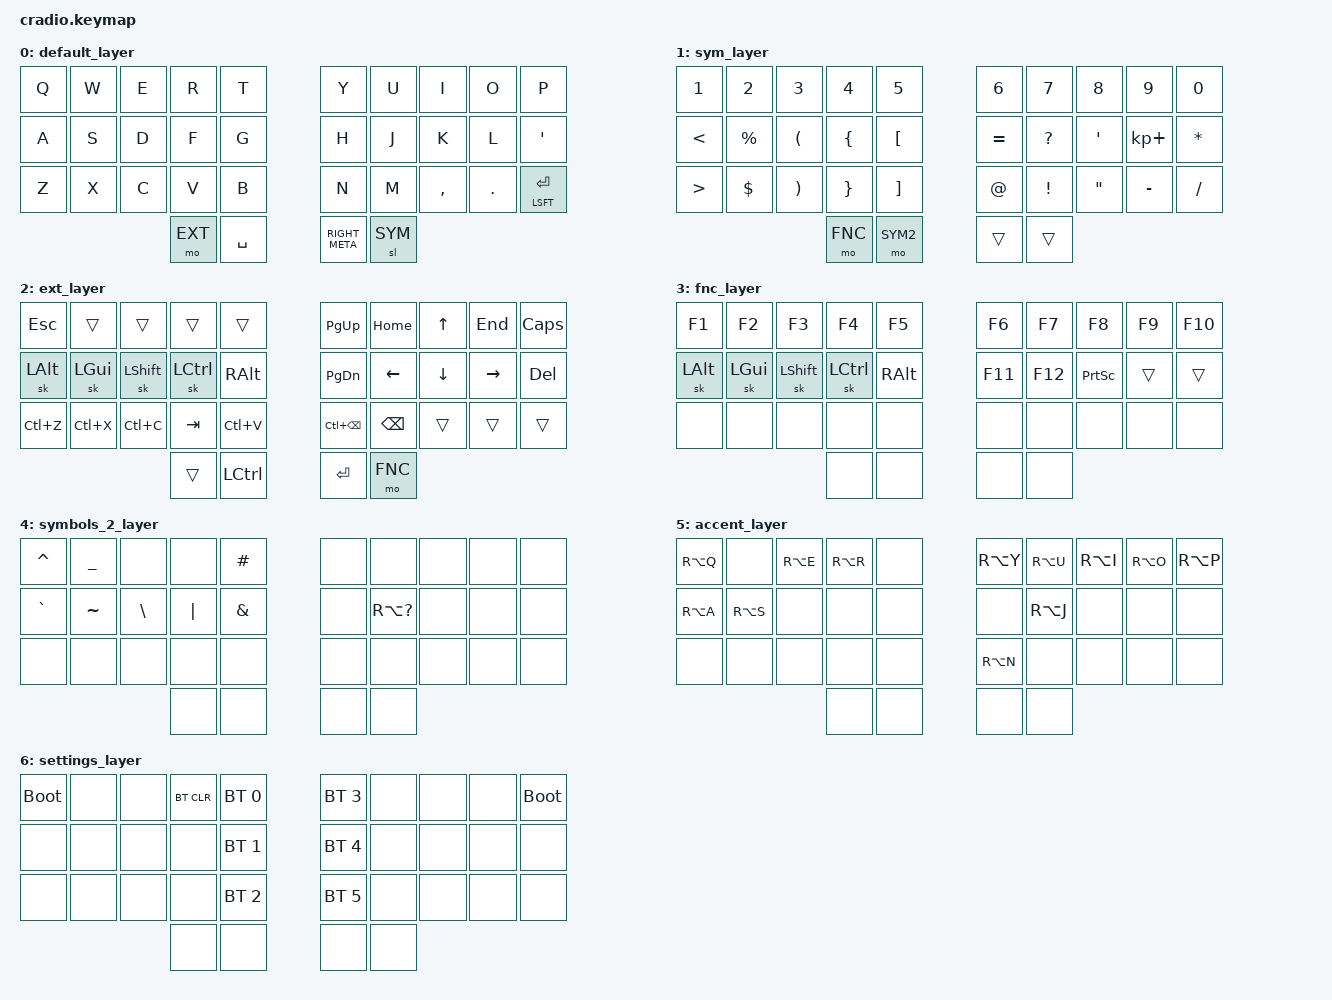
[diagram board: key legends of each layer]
/*
 * Copyright (c) 2020 The ZMK Contributors
 *
 * SPDX-License-Identifier: MIT
 */

#include <behaviors.dtsi>
#include <dt-bindings/zmk/keys.h>
#include <dt-bindings/zmk/bt.h>

// Layer definitions
    #define BASE 0
    #define SYM 1
    #define EXT 2
    #define FNC 3
    #define SYM2 4
    #define ACCENT 5
    #define SETTINGS 6
// -----------------

&mt {
   //  flavor = "tap-preferred";
   // tapping_term_ms = <200>;
};

/ {
    combos {
        compatible = "zmk,combos";
		// both right thumb keys
        combo_accent {
            timeout-ms = <300>;
            key-positions = <32 33>;
            bindings = <&mo ACCENT>;
        };
        // internal-left & external-right thumb keys
        combo_sym2 {
                timeout-ms = <200>;
                key-positions = <31 33>;
                bindings = <&mo SYM2>;
        };
        // both left thumb keys
        combo_settings {
                timeout-ms = <300>;
                key-positions = <30 31>;
                bindings = <&mo SETTINGS>;
        };
    };

    behaviors {
        dkm: dualkey_mod {
            compatible = "zmk,behavior-hold-tap";
            label = "DUAL_KEY_MOD";
            #binding-cells = <2>;
            tapping-term-ms = <200>;
            quick-tap-ms = <0>;
            flavor = "tap-preferred";
            bindings = <&kp>, <&kp>;
        };
    };

        keymap {
            compatible = "zmk,keymap";

            default_layer {
                bindings = <
                    &kp Q       &kp W           &kp E           &kp R       &kp T                        &kp Y           &kp U                   &kp I       &kp O       &kp P
                    &kp A       &kp S           &kp D           &kp F       &kp G                        &kp H           &kp J                   &kp K       &kp L       &kp QUOT
                    &kp Z       &kp X           &kp C           &kp V       &kp B                        &kp N           &kp M                   &kp CMMA    &kp DOT     &mt LSFT RET
                                                                &mo EXT     &kp SPACE                    &kp RIGHT_META  &sl SYM
                >;
            };

            sym_layer {
                bindings = <
                    &kp N1      &kp N2          &kp N3          &kp N4      &kp N5                       &kp N6          &kp N7                  &kp N8      &kp N9      &kp N0
                    &kp LT      &kp PERCENT     &kp LPAR        &kp LBRC    &kp LBKT                     &kp EQUAL       &kp QMARK               &kp SQT     &kp KP_PLUS &kp ASTRK
                    &kp GT      &kp DOLLAR      &kp RPAR        &kp RBRC    &kp RBKT                     &kp AT          &kp EXCL                &kp DQT     &kp MINUS   &kp SLASH
                                                                &mo FNC     &mo SYM2                     &trans          &trans
                >;
            };

            ext_layer {
                bindings = <
                    &kp ESC     &trans          &trans          &trans      &trans                       &kp PG_UP       &kp HOME                &kp UP      &kp END     &kp CAPS
                    &sk LALT    &sk LGUI        &sk LSHIFT      &sk LCTRL   &kp RALT                     &kp PG_DN       &kp LEFT                &kp DOWN    &kp RIGHT   &kp DEL
                    &kp LC(Z)   &kp LC(X)       &kp LC(C)       &kp TAB     &kp LC(V)                    &kp LC(BSPC)    &kp BSPC                &trans      &trans      &trans
                                                                &trans      &kp LCTRL                    &kp ENTER       &mo FNC
                >;
            };

            fnc_layer {
                bindings = <
                    &kp F1      &kp F2          &kp F3          &kp F4      &kp F5                       &kp F6          &kp F7                  &kp F8      &kp F9      &kp F10
                    &sk LALT    &sk LGUI        &sk LSHIFT      &sk LCTRL   &kp RALT                     &kp F11         &kp F12                 &kp PRINTSCREEN &trans  &trans
                    &none       &none           &none           &none       &none                        &none           &none                   &none       &none       &none
                                                                &none       &none                        &none           &none
                >;
            };

            symbols_2_layer {
                bindings = <
                    &kp CARET   &kp UNDER       &none           &none       &kp HASH                     &none           &none                   &none       &none       &none
                    &kp GRAVE   &kp TILDE       &kp BSLH        &kp PIPE    &kp AMPS                     &none           &kp RA(QMARK)           &none       &none       &none
                    &none       &none           &none           &none       &none                        &none           &none                   &none       &none       &none
                                                                &none       &none                        &none           &none
                >;
            };

            accent_layer {
                bindings = <
                    &kp RA(Q)   &none           &kp RA(E)       &kp RA(R)   &none                        &kp RA(Y)       &kp RA(U)               &kp RA(I)   &kp RA(O)   &kp RA(P)
                    &kp RA(A)   &kp RA(S)       &none           &none       &none                        &none           &kp RA(J)               &none       &none       &none
                    &none       &none           &none           &none       &none                        &kp RA(N)       &none                   &none       &none       &none
                                                                &none       &none                        &none           &none
                >;
            };

            settings_layer {
                bindings = <
                    &bootloader &none           &none           &bt BT_CLR  &bt BT_SEL 0                 &bt BT_SEL 3    &none                   &none       &none       &bootloader
                    &none       &none           &none           &none       &bt BT_SEL 1                 &bt BT_SEL 4    &none                   &none       &none       &none
                    &none       &none           &none           &none       &bt BT_SEL 2                 &bt BT_SEL 5    &none                   &none       &none       &none
                                                                &none       &none                        &none           &none
                >;
            };
	};
};
